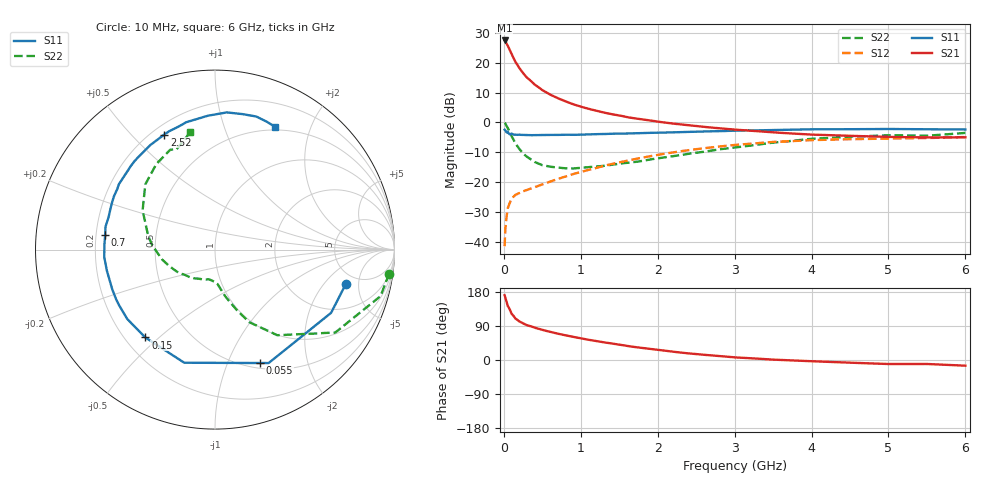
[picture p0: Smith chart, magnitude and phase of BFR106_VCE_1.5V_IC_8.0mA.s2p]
! Infineon Technologies  Discrete & RF Semiconductors
! BFR106
! VCE =  1.5 V,  IC =  8.0 mA
! Common Emitter S-Parameters:  Nov 2015
# GHz  S  MA  R  50
!  f  S11  S21  S12  S22
! GHz  MAG  ANG  MAG  ANG  MAG  ANG  MAG  ANG
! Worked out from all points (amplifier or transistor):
!   210 points, 10 MHz to 6 GHz, reference 50 ohm
!   highest |S21| = 27.5 dB at 10 MHz (marker M1)
!   |S21| within 3 dB of that: start of sweep to 72.58 MHz
!   unconditionally stable (mu >= 1): 513 MHz to 2.505 GHz; 4.229 GHz to end of sweep
!   at 185 MHz: K = 0.51, MSG = 21.4 dB, |S12| = -23.9 dB
!   at 1.52 GHz: K = 1.11, MAG = 5.7 dB, |S12| = -13.3 dB
!   at 6 GHz: K = 1.03, MAG = -1.1 dB, |S12| = -4.9 dB
!   S11 on the Smith chart (normalised r, x): 10 MHz: 3.98, -3.49; 55 MHz: 0.56, -1.32; 150 MHz: 0.28, -0.45; 700 MHz: 0.24, +0.06; 2.52 GHz: 0.25, +0.62; 6 GHz: 0.46, +1.51
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0.01  0.7544 -14.5  23.73 171.0  0.0084 83.3  0.9792 -7.9
0.02  0.7365 -28.6  23.18 163.5  0.0166 76.2  0.9581 -15.7
0.05  0.6991 -64.7  19.54 142.9  0.0359 60.0  0.814 -34.6
0.055  0.6802 -68.3  18.9 141.4  0.0375 58.2  0.7884 -36.0
0.1  0.6532 -105.2  14.05 122.1  0.0527 47.2  0.5894 -54.0
0.15  0.6248 -128.4  10.41 109.4  0.0609 40.8  0.4465 -64.8
0.2  0.6235 -141.7  8.215 101.9  0.0654 40.0  0.3605 -70.0
0.26  0.6166 -153.3  6.482 95.3  0.0706 40.3  0.2933 -75.0
0.3  0.6137 -158.9  5.66 91.9  0.0736 41.4  0.2656 -77.7
0.4  0.6137 -168.9  4.327 85.1  0.0819 44.5  0.2174 -82.5
0.5  0.6185 -176.2  3.489 79.3  0.0909 47.1  0.1918 -85.9
0.6  0.6167 177.6  2.94 74.1  0.1018 49.7  0.1809 -89.6
0.7  0.6173 172.2  2.555 69.3  0.1121 51.9  0.1753 -94.4
0.86  0.6204 165.8  2.112 62.8  0.1312 54.0  0.1693 -100.9
1.02  0.6246 159.1  1.808 56.5  0.1502 55.2  0.1746 -107.4
1.4  0.6477 145.8  1.375 43.7  0.2006 55.2  0.1954 -124.5
2.02  0.6728 127.3  1.024 26.2  0.2884 49.7  0.2514 -152.8
2.52  0.7005 113.8  0.865 15.3  0.3587 42.7  0.312 -173.9
3.1  0.7298 100.7  0.743 5.9  0.4286 32.9  0.3933 164.4
4.1  0.767 83.8  0.619 -4.0  0.5082 16.2  0.5389 134.3
5.1  0.7742 71.8  0.568 -10.6  0.5381 2.7  0.6074 113.5
6  0.7615 63.8  0.563 -15.0  0.5697 -6.9  0.6672 102.0
